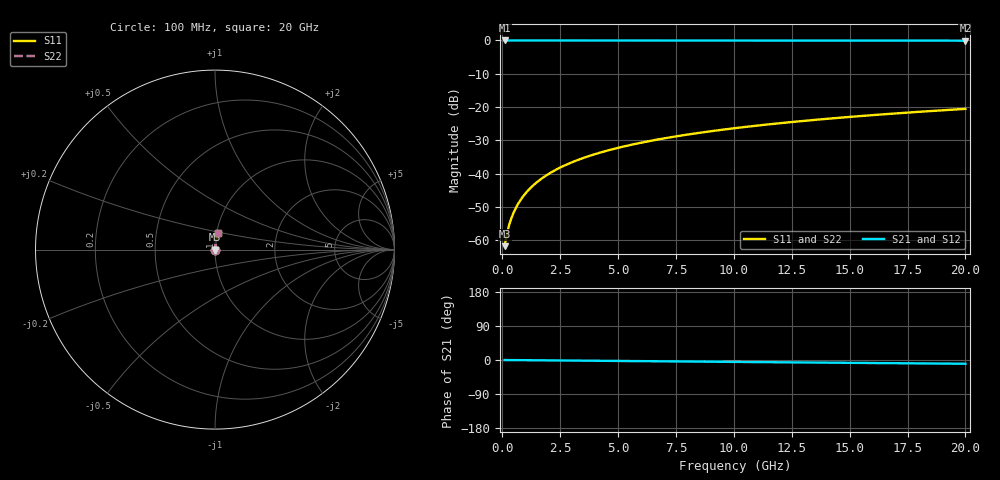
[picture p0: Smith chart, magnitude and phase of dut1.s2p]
! Touchstone file exported from HFSS 2026.1.0
!  File:  C:/ffzhzh/LocalFiles/Ansys_Project_Files/temp_test_TMRDL_1_1782906693_13352.aedt
!  Generated:  07:52:58 PM Jul  1, 2026
!  Design:  TMRDL
!  Project:  temp_test_TMRDL_1_1782906693_13352
! Variables:
!  h_bsmrdl = 2um
!  h_ox = 20um
!  h_rdl = 5um
!  h_sub = 80um
!  h_tmrdl = 3.89um
!  h_tsv = 80um
!  h_via = 3um
!  l_bsmrdl = 300um
!  l_sub = 511.84um
!  l_tmrdl = 111.84um
!  m_sub = 200um
!  pitch = 49.51um
!  r_tsv = 6um
!  s_tmrdl = 10um
!  w_bsmrdl = 18um
!  w_sub = 500um
!  w_tmrdl = 26.53um
!  x_tsv_center1 = 125.105um
!  x_tsv_center2 = 443.105um
!  x_tsv_center3 = 581.475um
!  x_tsv_center4 = 899.475um
!  x_tsv_center5 = 1037.845um
!  x_tsv_center6 = 1355.845um
# GHz S MA R 50.000000
! Terminal data exported
! Port[1] = TM_RDL1_1_T1
! Port[2] = TM_RDL1_1_T2
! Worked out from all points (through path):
!   200 points, 100 MHz to 20 GHz, reference 50 ohm
!   highest |S21| = -0.01 dB at 100 MHz (marker M1); lowest = -0.1 dB at 20 GHz (marker M2)
!   group delay of S21, straight-line fit = 1.37 ps
!   lowest |S11| = -61.7 dB at 100 MHz (marker M3), VSWR 1.00, Z = 50.1 + j0.0548 ohm
!   |S11| at or under -10 dB: start of sweep to end of sweep
!   |S22| runs from -61.7 to -20.5 dB; largest |S21 - S12| = 2.5e-15
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0.1  0.0008177 42.0  0.9994 -0.1  0.9994 -0.1  0.0008177 42.0
! Gamma 0 0 0 0
! Port Impedance 50 0 50 0
0.2  0.001251 58.9  0.9994 -0.1  0.9994 -0.1  0.001251 58.9
0.3  0.001716 66.5  0.9993 -0.2  0.9993 -0.2  0.001716 66.5
0.4  0.002186 70.9  0.9993 -0.2  0.9993 -0.2  0.002186 70.9
0.5  0.002658 73.8  0.9993 -0.3  0.9993 -0.3  0.002658 73.8
0.6  0.003132 75.9  0.9992 -0.3  0.9992 -0.3  0.003132 75.9
0.8  0.004089 78.8  0.9992 -0.4  0.9992 -0.4  0.004089 78.8
1.1  0.00554 81.2  0.9992 -0.6  0.9992 -0.6  0.00554 81.2
1.5  0.007488 82.9  0.9991 -0.8  0.9991 -0.8  0.007488 82.9
1.8  0.008952 83.6  0.9991 -0.9  0.9991 -0.9  0.008952 83.6
2.1  0.01042 84.1  0.9991 -1.1  0.9991 -1.1  0.01042 84.1
2.7  0.01334 84.5  0.999 -1.4  0.999 -1.4  0.01334 84.5
3.5  0.01723 84.7  0.9988 -1.8  0.9988 -1.8  0.01723 84.7
4.2  0.02061 84.7  0.9986 -2.1  0.9986 -2.1  0.02061 84.7
5  0.02446 84.5  0.9984 -2.5  0.9984 -2.5  0.02446 84.5
5.9  0.02875 84.2  0.9982 -3.0  0.9982 -3.0  0.02875 84.2
6.8  0.03302 83.9  0.9979 -3.4  0.9979 -3.4  0.03302 83.9
8.3  0.04009 83.3  0.9974 -4.2  0.9974 -4.2  0.04009 83.3
10.1  0.04851 82.6  0.9968 -5.1  0.9968 -5.1  0.04851 82.6
13.4  0.06382 81.2  0.9956 -6.7  0.9956 -6.7  0.06382 81.2
16.7  0.07898 79.8  0.9942 -8.3  0.9942 -8.3  0.07898 79.8
20  0.09401 78.3  0.9927 -9.9  0.9927 -9.9  0.09401 78.3
